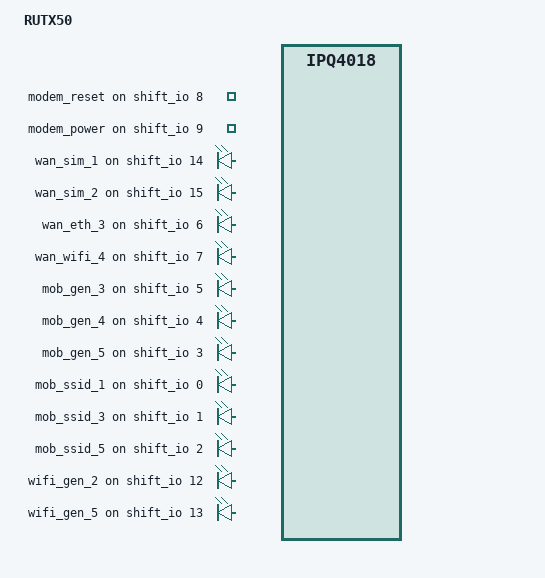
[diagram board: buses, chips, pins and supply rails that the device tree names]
#include "qcom-ipq4018-rutx-shiftreg.dtsi"

/ {
	model = "RUTX50";

	soc {

		ext_io {
			shift_io: shift_io@0 {
				registers-number = <2>;
			};
		};

		gpio-export {
			compatible = "gpio-export";
			#size-cells = <0>;

			gpio_modem_reset {
				gpio-export,name = "modem_reset";
				gpio-export,output = <0>;
				gpios = <&shift_io 8 GPIO_ACTIVE_HIGH>;
			};

			gpio_modem_power {
				gpio-export,name = "modem_power";
				gpio-export,output = <0>;
				gpios = <&shift_io 9 GPIO_ACTIVE_HIGH>;
			};
		};

		leds {
			compatible = "gpio-leds";

			led_wan_sim1 {
				label = "wan_sim_1";
				gpios = <&shift_io 14 GPIO_ACTIVE_HIGH>;
			};

			led_wan_sim2 {
				label = "wan_sim_2";
				gpios = <&shift_io 15 GPIO_ACTIVE_HIGH>;
			};

			led_wan_eth {
				label = "wan_eth_3";
				gpios = <&shift_io 6 GPIO_ACTIVE_HIGH>;
			};

			led_wan_wifi {
				label = "wan_wifi_4";
				gpios = <&shift_io 7 GPIO_ACTIVE_HIGH>;
			};

			led_gen_3 {
				label = "mob_gen_3";
				gpios = <&shift_io 5 GPIO_ACTIVE_HIGH>;
			};

			led_gen_4 {
				label = "mob_gen_4";
				gpios = <&shift_io 4 GPIO_ACTIVE_HIGH>;
			};

			led_gen_5 {
				label = "mob_gen_5";
				gpios = <&shift_io 3 GPIO_ACTIVE_HIGH>;
			};

			led_ssid_1 {
				label = "mob_ssid_1";
				gpios = <&shift_io 0 GPIO_ACTIVE_HIGH>;
				linux,default-trigger = "timer";
			};

			led_ssid_3 {
				label = "mob_ssid_3";
				gpios = <&shift_io 1 GPIO_ACTIVE_HIGH>;
				linux,default-trigger = "timer";
			};

			led_ssid_5 {
				label = "mob_ssid_5";
				gpios = <&shift_io 2 GPIO_ACTIVE_HIGH>;
				linux,default-trigger = "timer";
			};

			led_wifi_24 {
				label = "wifi_gen_2";
				gpios = <&shift_io 12 GPIO_ACTIVE_HIGH>;
			};

			led_wifi_50 {
				label = "wifi_gen_5";
				gpios = <&shift_io 13 GPIO_ACTIVE_HIGH>;
			};
		};
	};

	tlt_gpios { // Modify according to wiki page "DTS syntax with Libgpiod changes"
		gpiochip_info {
			hw_0 {
				hwver = <0>;
				gpiochip_count = <2>;

				gpiochip_0 = <100>; // Built-in
				gpiochip_1 = <16>;  // Shift Register
			};
		};

		ioman {
			GPIO_0 {
				compatible_versions = <0 99>;
				line_name = "GPIO_IN_1";
				active_low;
			};
			GPIO_110 {
				compatible_versions = <0 99>;
				line_name = "GPIO_OUT_1";
			};
		};

		ledman {
			GPIO_114 {
				compatible_versions = <0 99>;
				line_name = "LED_SIM_1";
			};
			GPIO_115 {
				compatible_versions = <0 99>;
				line_name = "LED_SIM_2";
			};
			GPIO_106 {
				compatible_versions = <0 99>;
				line_name = "LED_WAN_ETH";
			};
			GPIO_107 {
				compatible_versions = <0 99>;
				line_name = "LED_WAN_WIFI";
			};
			GPIO_105 {
				compatible_versions = <0 99>;
				line_name = "LED_TECH_GEN_3";
			};
			GPIO_104 {
				compatible_versions = <0 99>;
				line_name = "LED_TECH_GEN_4";
			};
			GPIO_103 {
				compatible_versions = <0 99>;
				line_name = "LED_TECH_GEN_5";
			};
			GPIO_100 {
				compatible_versions = <0 99>;
				line_name = "LED_SSID_1";
			};
			GPIO_101 {
				compatible_versions = <0 99>;
				line_name = "LED_SSID_3";
			};
			GPIO_102 {
				compatible_versions = <0 99>;
				line_name = "LED_SSID_5";
			};
			GPIO_112 {
				compatible_versions = <0 99>;
				line_name = "LED_WIFI_24";
			};
			GPIO_113 {
				compatible_versions = <0 99>;
				line_name = "LED_WIFI_50";
			};
		};

		misc {
			GPIO_108 {
				compatible_versions = <0 99>;
				line_name = "GPIO_MODEM_RESET_1";
			};
			GPIO_109 {
				compatible_versions = <0 99>;
				line_name = "GPIO_MODEM_POWER_1";
			};
		};
	};
};
